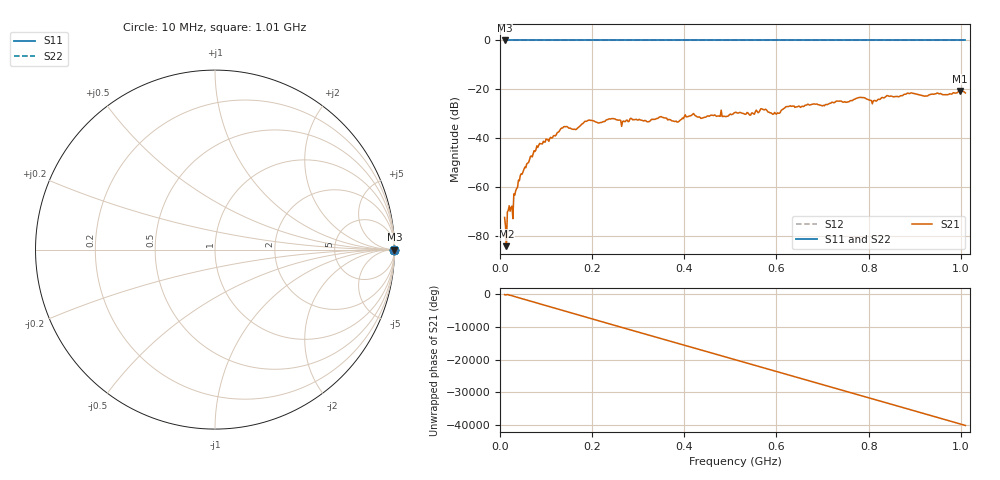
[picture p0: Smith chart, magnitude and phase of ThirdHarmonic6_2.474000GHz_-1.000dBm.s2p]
! 8/17/2025 4:34:26 AM
! C:\ANRITSUVNA\TEMP\TEMP.S2P
! CHANNEL.1
! TR.MEASUREMENT
! RAW.DATA
! RF.CORRECTION.OFF
! AVERAGING.OFF
! IF.BANDWIDTH: 5KHZ
! SWEEPTYPE:  FREQ.SWEEP(Linear)
! Reference Plane Port Info
! PORT:  PORT1  PORT2
! DISTANCE:  0  m  0  m
! TIME:  0  s  0  s
! PHASE.OFFSET:  0  deg.  0  deg.
! LOSS:  0  dB  0  dB
! REF.LOSS:  0  dB  0  dB
! REF.FREQ:  0  Hz  0  Hz
! Power Info
! POWER:  -20  dBm  -20  dBm
! EFF.POWER:  -20  dBm  -20  dBm
! SOURCE.ATTEN:  0  dB  0  dB
! TEST.ATTEN:  0  dB  0  dB
# GHZ S RI R 50.0
! FREQ.GHZ  S11RE  S11IM  S21RE  S21IM  S12RE  S12IM  S22RE  S22IM
!; PortSelection: Port_12
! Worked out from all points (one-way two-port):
!   501 points, 10 MHz to 1.01 GHz, reference 50 ohm
!   highest |S21| = -20.75 dB at 998 MHz (marker M1); lowest = -84.3 dB at 14 MHz (marker M2)
!   lowest |S11| = 0.0 dB at 10 MHz (marker M3)
!   |S11| at or under -10 dB: nowhere
!   |S22| runs from 0.0 to 0.0 dB; largest |S21 - S12| = 1.1
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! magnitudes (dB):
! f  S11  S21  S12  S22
! 10 MHz  0.0  -72.5  0.0  0.0
! 14 MHz  0.0  -84.3  0.0  0.0
! 20 MHz  0.0  -67.7  0.0  0.0
! 26 MHz  0.0  -67.9  0.0  0.0
! 44 MHz  0.0  -55.4  0.0  0.0
! 84 MHz  0.0  -43.0  0.0  0.0
! 136 MHz  0.0  -35.9  0.0  0.0
! 162 MHz  0.0  -36.3  0.0  0.0
! 178 MHz  0.0  -34.2  0.0  0.0
! 344 MHz  0.0  -31.7  0.0  0.0
! 384 MHz  0.0  -33.4  0.0  0.0
! 418 MHz  0.0  -30.3  0.0  0.0
! 510 MHz  0.0  -29.5  0.0  0.0
! 570 MHz  0.0  -28.2  0.0  0.0
! 602 MHz  0.0  -29.7  0.0  0.0
! 624 MHz  0.0  -27.1  0.0  0.0
! 678 MHz  0.0  -26.1  0.0  0.0
! 782 MHz  0.0  -23.3  0.0  0.0
! 812 MHz  0.0  -24.6  0.0  0.0
! 844 MHz  0.0  -22.9  0.0  0.0
! 998 MHz  0.0  -20.7  0.0  0.0
! 1.01 GHz  0.0  -21.5  0.0  0.0
